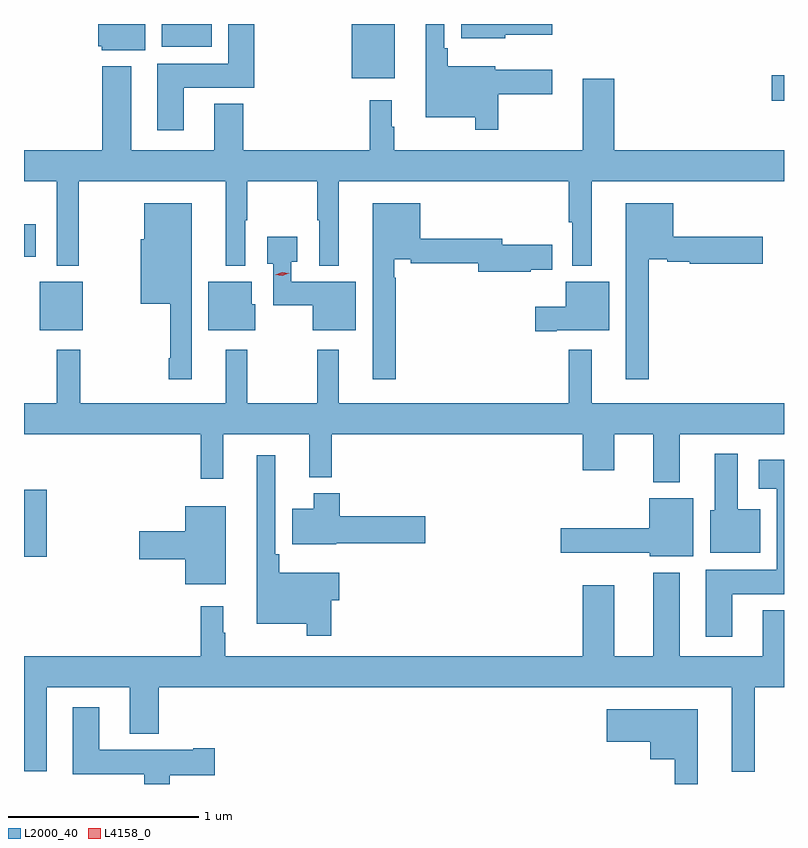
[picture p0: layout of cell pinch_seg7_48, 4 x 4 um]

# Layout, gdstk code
import gdstk
lib = gdstk.Library(unit=1e-6, precision=1e-09)
def R(c, l, rs):  # rectangles x0, y0, x1, y1
    for r in rs: c.add(gdstk.rectangle(r[:2], r[2:], *l))
def P(c, l, *ps):  # polygons
    for p in ps: c.add(gdstk.Polygon(p, *l))
L2000_40 = (2000, 40)
L4158_0 = (4158, 0)

pinch_seg7_48 = lib.new_cell('pinch_seg7_48')
R(pinch_seg7_48, L2000_40, [(977.25,1045.259,977.369,1045.612), (977.333,1046.453,977.56,1046.707), (977.25,1046.84,977.311,1047.01), (981.186,1047.659,981.25,1047.794), (978.974,1047.779,979.201,1048.064), (977.975,1047.944,978.238,1048.064)])
P(pinch_seg7_48, L2000_40, [(978.091,1047.728),(978.461,1047.728),(978.461,1048.064),(978.326,1048.064),(978.326,1047.856),(977.951,1047.856),(977.951,1047.504),(978.091,1047.504)],
  [(977.887,1048.064),(977.654,1048.064),(977.654,1048.062),(977.642,1048.062),(977.642,1047.948),(977.658,1047.948),(977.658,1047.926),(977.887,1047.926)],
  [(979.747,1047.694),(980.029,1047.694),(980.029,1047.823),(979.731,1047.823),(979.731,1047.841),(979.481,1047.841),(979.481,1047.937),(979.461,1047.937),(979.461,1048.064),(979.364,1048.064),(979.364,1047.572),(979.626,1047.572),(979.626,1047.507),(979.747,1047.507)],
  [(979.782,1048.007),(980.029,1048.007),(980.029,1048.064),(979.55,1048.064),(979.55,1047.989),(979.782,1047.989)],
  [(978.404,1047.643),(978.251,1047.643),(978.251,1047.4),(977.815,1047.4),(977.815,1047.841),(977.663,1047.841),(977.663,1047.4),(977.25,1047.4),(977.25,1047.236),(977.423,1047.236),(977.423,1046.792),(977.537,1046.792),(977.537,1047.236),(978.311,1047.236),(978.311,1046.792),(978.415,1046.792),(978.415,1047.031),(978.425,1047.031),(978.425,1047.236),(978.793,1047.236),(978.793,1047.031),(978.803,1047.031),(978.803,1046.792),(978.907,1046.792),(978.907,1047.236),(980.118,1047.236),(980.118,1047.02),(980.135,1047.02),(980.135,1046.792),(980.239,1046.792),(980.239,1047.236),(981.25,1047.236),(981.25,1047.4),(980.356,1047.4),(980.356,1047.775),(980.192,1047.775),(980.192,1047.4),(979.198,1047.4),(979.198,1047.524),(979.186,1047.524),(979.186,1047.664),(979.069,1047.664),(979.069,1047.4),(978.404,1047.4)],
  [(979.207,1046.729),(979.199,1046.729),(979.199,1046.826),(979.285,1046.826),(979.285,1046.806),(979.64,1046.806),(979.64,1046.759),(979.916,1046.759),(979.916,1046.771),(980.029,1046.771),(980.029,1046.901),(979.768,1046.901),(979.768,1046.935),(979.336,1046.935),(979.336,1047.121),(979.085,1047.121),(979.085,1046.193),(979.207,1046.193)],
  [(978.133,1047.121),(977.882,1047.121),(977.882,1046.931),(977.864,1046.931),(977.864,1046.591),(978.019,1046.591),(978.019,1046.305),(978.012,1046.305),(978.012,1046.193),(978.133,1046.193)],
  [(980.539,1046.825),(980.636,1046.825),(980.636,1046.813),(980.754,1046.813),(980.754,1046.801),(981.139,1046.801),(981.139,1046.943),(980.668,1046.943),(980.668,1047.121),(980.417,1047.121),(980.417,1046.193),(980.539,1046.193)],
  [(978.997,1046.707),(978.657,1046.707),(978.657,1046.813),(978.688,1046.813),(978.688,1046.943),(978.53,1046.943),(978.53,1046.801),(978.561,1046.801),(978.561,1046.584),(978.77,1046.584),(978.77,1046.453),(978.997,1046.453)],
  [(978.466,1046.589),(978.448,1046.589),(978.448,1046.707),(978.221,1046.707),(978.221,1046.453),(978.466,1046.453)],
  [(980.053,1046.453),(980.329,1046.453),(980.329,1046.707),(980.102,1046.707),(980.102,1046.575),(979.941,1046.575),(979.941,1046.446),(980.053,1046.446)],
  [(980.701,1045.904),(981.25,1045.904),(981.25,1046.068),(980.239,1046.068),(980.239,1046.35),(980.118,1046.35),(980.118,1046.068),(978.907,1046.068),(978.907,1046.35),(978.793,1046.35),(978.793,1046.068),(978.425,1046.068),(978.425,1046.35),(978.311,1046.35),(978.311,1046.068),(977.545,1046.068),(977.545,1046.35),(977.423,1046.35),(977.423,1046.068),(977.25,1046.068),(977.25,1045.904),(978.181,1045.904),(978.181,1045.671),(978.299,1045.671),(978.299,1045.904),(978.752,1045.904),(978.752,1045.679),(978.869,1045.679),(978.869,1045.904),(980.192,1045.904),(980.192,1045.716),(980.356,1045.716),(980.356,1045.904),(980.561,1045.904),(980.561,1045.652),(980.701,1045.652)],
  [(981.124,1045.51),(981.007,1045.51),(981.007,1045.801),(980.885,1045.801),(980.885,1045.506),(980.861,1045.506),(980.861,1045.28),(981.124,1045.28)],
  [(978.866,1045.03),(978.91,1045.03),(978.91,1045.177),(978.593,1045.177),(978.593,1045.273),(978.573,1045.273),(978.573,1045.795),(978.476,1045.795),(978.476,1044.908),(978.738,1044.908),(978.738,1044.843),(978.866,1044.843)],
  [(980.977,1045.064),(981.25,1045.064),(981.25,1045.771),(981.117,1045.771),(981.117,1045.619),(981.212,1045.619),(981.212,1045.192),(980.837,1045.192),(980.837,1044.84),(980.977,1044.84)],
  [(978.894,1045.331),(979.363,1045.331),(979.363,1045.473),(978.911,1045.473),(978.911,1045.594),(978.776,1045.594),(978.776,1045.513),(978.662,1045.513),(978.662,1045.325),(978.894,1045.325)],
  [(980.773,1045.567),(980.54,1045.567),(980.54,1045.41),(980.076,1045.41),(980.076,1045.28),(980.544,1045.28),(980.544,1045.262),(980.773,1045.262)],
  [(978.313,1045.525),(978.098,1045.525),(978.098,1045.394),(977.856,1045.394),(977.856,1045.247),(978.098,1045.247),(978.098,1045.115),(978.313,1045.115)],
  [(981.097,1044.572),(981.25,1044.572),(981.25,1044.979),(981.137,1044.979),(981.137,1044.736),(980.701,1044.736),(980.701,1045.177),(980.561,1045.177),(980.561,1044.736),(980.356,1044.736),(980.356,1045.111),(980.192,1045.111),(980.192,1044.736),(978.31,1044.736),(978.31,1044.86),(978.298,1044.86),(978.298,1045),(978.181,1045),(978.181,1044.736),(977.25,1044.736),(977.25,1044.131),(977.371,1044.131),(977.371,1044.572),(977.807,1044.572),(977.807,1044.329),(977.96,1044.329),(977.96,1044.572),(980.975,1044.572),(980.975,1044.128),(981.097,1044.128)],
  [(978.017,1044.11),(978.253,1044.11),(978.253,1044.252),(978.14,1044.252),(978.14,1044.244),(977.647,1044.244),(977.647,1044.469),(977.507,1044.469),(977.507,1044.116),(977.882,1044.116),(977.882,1044.064),(978.017,1044.064)],
  [(980.797,1044.457),(980.316,1044.457),(980.316,1044.287),(980.546,1044.287),(980.546,1044.194),(980.676,1044.194),(980.676,1044.064),(980.797,1044.064)])
P(pinch_seg7_48, L4158_0, [(978.61,1046.738),(978.573,1046.744),(978.573,1046.744),(978.573,1046.744),(978.608,1046.758),(978.644,1046.752),(978.645,1046.752),(978.644,1046.752)])

lib.write_gds('pinch_seg7_48.gds')
